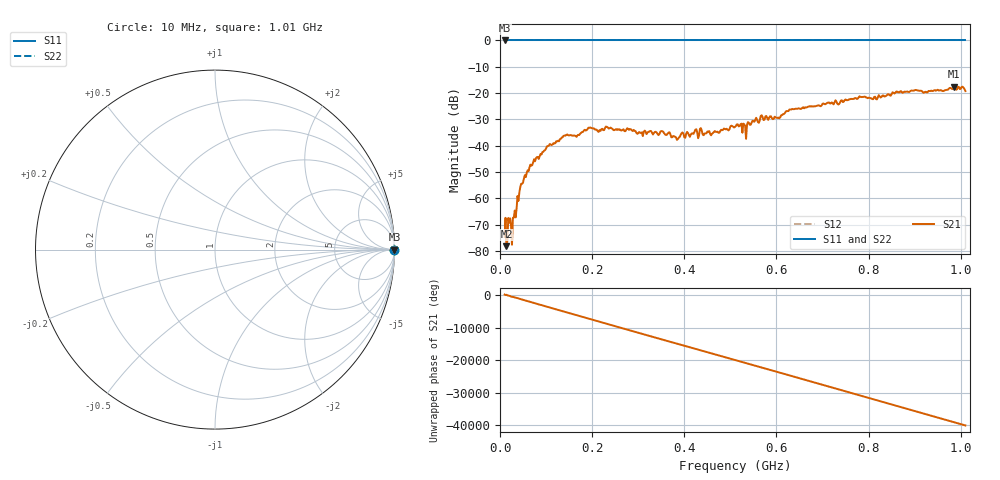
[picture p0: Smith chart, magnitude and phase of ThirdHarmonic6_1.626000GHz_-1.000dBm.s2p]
! 8/16/2025 7:25:52 PM
! C:\ANRITSUVNA\TEMP\TEMP.S2P
! CHANNEL.1
! TR.MEASUREMENT
! RAW.DATA
! RF.CORRECTION.OFF
! AVERAGING.OFF
! IF.BANDWIDTH: 5KHZ
! SWEEPTYPE:  FREQ.SWEEP(Linear)
! Reference Plane Port Info
! PORT:  PORT1  PORT2
! DISTANCE:  0  m  0  m
! TIME:  0  s  0  s
! PHASE.OFFSET:  0  deg.  0  deg.
! LOSS:  0  dB  0  dB
! REF.LOSS:  0  dB  0  dB
! REF.FREQ:  0  Hz  0  Hz
! Power Info
! POWER:  -20  dBm  -20  dBm
! EFF.POWER:  -20  dBm  -20  dBm
! SOURCE.ATTEN:  0  dB  0  dB
! TEST.ATTEN:  0  dB  0  dB
# GHZ S RI R 50.0
! FREQ.GHZ  S11RE  S11IM  S21RE  S21IM  S12RE  S12IM  S22RE  S22IM
!; PortSelection: Port_12
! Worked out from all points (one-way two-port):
!   501 points, 10 MHz to 1.01 GHz, reference 50 ohm
!   highest |S21| = -17.56 dB at 986 MHz (marker M1); lowest = -78.1 dB at 14 MHz (marker M2)
!   lowest |S11| = 0.0 dB at 10 MHz (marker M3)
!   |S11| at or under -10 dB: nowhere
!   |S22| runs from 0.0 to 0.0 dB; largest |S21 - S12| = 1.1
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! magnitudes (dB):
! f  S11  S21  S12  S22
! 10 MHz  0.0  -74.5  0.0  0.0
! 14 MHz  0.0  -78.1  0.0  0.0
! 30 MHz  0.0  -67.3  0.0  0.0
! 42 MHz  0.0  -57.7  0.0  0.0
! 50 MHz  0.0  -54.0  0.0  0.0
! 76 MHz  0.0  -45.9  0.0  0.0
! 140 MHz  0.0  -36.1  0.0  0.0
! 178 MHz  0.0  -34.8  0.0  0.0
! 232 MHz  0.0  -32.8  0.0  0.0
! 344 MHz  0.0  -35.9  0.0  0.0
! 386 MHz  0.0  -37.5  0.0  0.0
! 394 MHz  0.0  -35.2  0.0  0.0
! 460 MHz  0.0  -35.4  0.0  0.0
! 510 MHz  0.0  -32.8  0.0  0.0
! 530 MHz  0.0  -31.9  0.0  0.0
! 568 MHz  0.0  -28.4  0.0  0.0
! 604 MHz  0.0  -29.3  0.0  0.0
! 632 MHz  0.0  -26.2  0.0  0.0
! 678 MHz  0.0  -25.1  0.0  0.0
! 844 MHz  0.0  -20.4  0.0  0.0
! 986 MHz  0.0  -17.6  0.0  0.0
! 1.01 GHz  0.0  -19.2  0.0  0.0
